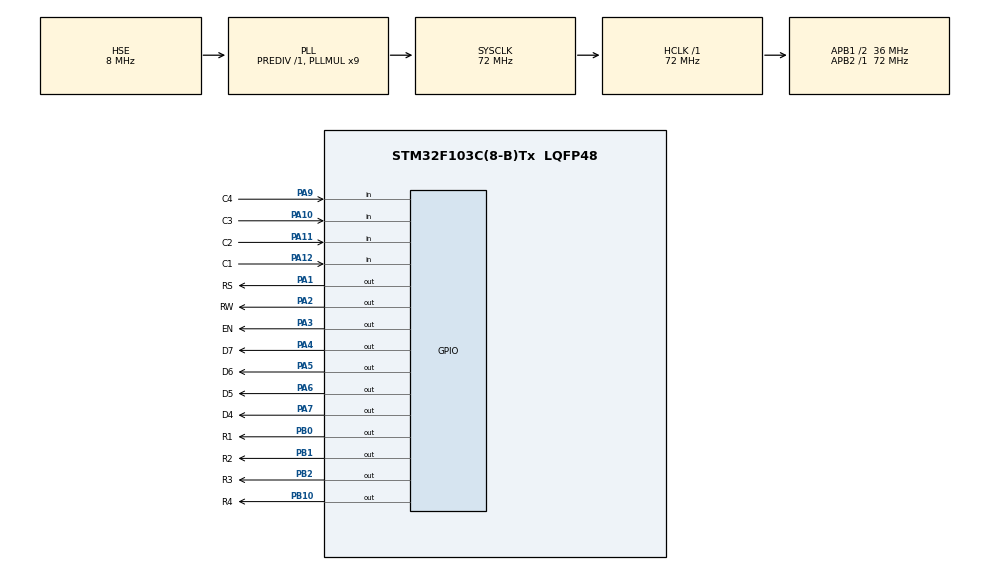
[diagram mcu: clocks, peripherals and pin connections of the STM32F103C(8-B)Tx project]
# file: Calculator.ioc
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Mcu.Family=STM32F1
Mcu.Name=STM32F103C(8-B)Tx
Mcu.Package=LQFP48
NVIC.PriorityGroup=NVIC_PRIORITYGROUP_4
PA1.GPIO_Label=RS
PA1.Signal=GPIO_Output
PA10.GPIO_Label=C3
PA10.GPIO_PuPd=GPIO_PULLUP
PA10.Signal=GPIO_Input
PA11.GPIO_Label=C2
PA11.GPIO_PuPd=GPIO_PULLUP
PA11.Signal=GPIO_Input
PA12.GPIO_Label=C1
PA12.GPIO_PuPd=GPIO_PULLUP
PA12.Signal=GPIO_Input
PA13.Mode=Serial_Wire
PA13.Signal=SYS_JTMS-SWDIO
PA14.Mode=Serial_Wire
PA14.Signal=SYS_JTCK-SWCLK
PA2.GPIO_Label=RW
PA2.Signal=GPIO_Output
PA3.GPIO_Label=EN
PA3.Signal=GPIO_Output
PA4.GPIO_Label=D7
PA4.Signal=GPIO_Output
PA5.GPIO_Label=D6
PA5.Signal=GPIO_Output
PA6.GPIO_Label=D5
PA6.Signal=GPIO_Output
PA7.GPIO_Label=D4
PA7.Signal=GPIO_Output
PA9.GPIO_Label=C4
PA9.GPIO_PuPd=GPIO_PULLUP
PA9.Signal=GPIO_Input
PB0.GPIO_Label=R1
PB0.Signal=GPIO_Output
PB1.GPIO_Label=R2
PB1.Signal=GPIO_Output
PB10.GPIO_Label=R4
PB10.Signal=GPIO_Output
PB2.GPIO_Label=R3
PB2.Signal=GPIO_Output
PC14-OSC32_IN.Mode=LSE-External-Clock-Source
PC14-OSC32_IN.Signal=RCC_OSC32_IN
PC15-OSC32_OUT.Mode=LSE-External-Clock-Source
PC15-OSC32_OUT.Signal=RCC_OSC32_OUT
PD0-OSC_IN.Mode=HSE-External-Oscillator
PD0-OSC_IN.Signal=RCC_OSC_IN
PD1-OSC_OUT.Mode=HSE-External-Oscillator
PD1-OSC_OUT.Signal=RCC_OSC_OUT
ProjectManager.HeapSize=0x200
ProjectManager.StackSize=0x400
ProjectManager.TargetToolchain=STM32CubeIDE
RCC.AHBFreq_Value=72000000
RCC.APB1CLKDivider=RCC_HCLK_DIV2
RCC.APB1Freq_Value=36000000
RCC.APB1TimFreq_Value=72000000
RCC.APB2Freq_Value=72000000
RCC.APB2TimFreq_Value=72000000
RCC.HCLKFreq_Value=72000000
RCC.PLLMUL=RCC_PLL_MUL9
RCC.PLLSourceVirtual=RCC_PLLSOURCE_HSE
RCC.SYSCLKFreq_VALUE=72000000
RCC.SYSCLKSource=RCC_SYSCLKSOURCE_PLLCLK
RCC.USBFreq_Value=72000000
TIM1.Period=0xffff
TIM1.Prescaler=72-1
VP_TIM1_VS_ClockSourceINT.Mode=Internal
board=custom

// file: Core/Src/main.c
/* USER CODE BEGIN Header */
/**
  ******************************************************************************
  * @file           : main.c
  * @brief          : Main program body
  ******************************************************************************
  * @attention
  *
  * Copyright (c) 2025 STMicroelectronics.
  * All rights reserved.
  *
  * This software is licensed under terms that can be found in the LICENSE file
  * in the root directory of this software component.
  * If no LICENSE file comes with this software, it is provided AS-IS.
  *
  ******************************************************************************
  */
/* USER CODE END Header */

#include "main.h"
#include <string.h>
#include <stdio.h>

/* USER CODE BEGIN PD */
/* LCD Pin Definitions (16x2) */
#define RS_PORT GPIOA
#define RS_PIN  GPIO_PIN_1
#define RW_PORT GPIOA
#define RW_PIN  GPIO_PIN_2
#define EN_PORT GPIOA
#define EN_PIN  GPIO_PIN_3
#define D4_PORT GPIOA
#define D4_PIN  GPIO_PIN_7
#define D5_PORT GPIOA
#define D5_PIN  GPIO_PIN_6
#define D6_PORT GPIOA
#define D6_PIN  GPIO_PIN_5
#define D7_PORT GPIOA
#define D7_PIN  GPIO_PIN_4

/* Keypad Pin Definitions */
#define R1_PORT GPIOA
#define R1_PIN  GPIO_PIN_9
#define R2_PORT GPIOA
#define R2_PIN  GPIO_PIN_10
#define R3_PORT GPIOA
#define R3_PIN  GPIO_PIN_11
#define R4_PORT GPIOA
#define R4_PIN  GPIO_PIN_12

#define C1_PORT GPIOB
#define C1_PIN  GPIO_PIN_12
#define C2_PORT GPIOB
#define C2_PIN  GPIO_PIN_13
#define C3_PORT GPIOB
#define C3_PIN  GPIO_PIN_14
#define C4_PORT GPIOB
#define C4_PIN  GPIO_PIN_15

/* Debug Pin */
#define DEBUG_PORT GPIOA
#define DEBUG_PIN  GPIO_PIN_8

/* Timer definition for microsecond delay */
#define timer htim1
/* USER CODE END PD */

TIM_HandleTypeDef htim1;

/* USER CODE BEGIN PV */
extern TIM_HandleTypeDef timer; // Defined as htim1

// Keypad layout
const char keypad[4][4] = {
    {'1', '2', '3', '+'},    // R1: PA9
    {'4', '5', '6', '*'},    // R2: PA10
    {'7', '8', '9', '-'},    // R3: PA11
    {'c', '0', '#', '='}     // R4: PA12 (B is '=')
};

// Calculator variables
int num1 = 0, num2 = 0, result = 0;
char operator = 0;
uint8_t state = 0; // 0: num1, 1: operator, 2: num2 entry, 3: result
char display_buffer[16]; // Buffer for LCD display
/* USER CODE END PV */

void SystemClock_Config(void);
static void MX_GPIO_Init(void);
static void MX_TIM1_Init(void);
char read_keypad(void);
void calculate(char key);

/* LCD function prototypes */
void delay(uint16_t us);
void send_to_lcd(char data, int rs);
void lcd_send_cmd(char cmd);
void lcd_send_data(char data);
void lcd_put_cur(int row, int col);
void lcd_init(void);
void lcd_send_string(char *str);
void lcd_clear(void);

int main(void)
{
  HAL_Init();
  SystemClock_Config();
  MX_GPIO_Init();
  MX_TIM1_Init();

  HAL_TIM_Base_Start(&timer); // Start TIM1 for LCD delay
  lcd_init();
  lcd_clear();
  lcd_put_cur(0, 0); // Start at row 0 for input
  lcd_put_cur(1, 0);
  lcd_send_string("Result:"); // Static label on row 1

  while (1)
  {
    HAL_GPIO_TogglePin(DEBUG_PORT, DEBUG_PIN); // Toggle PA8 to confirm loop
    HAL_Delay(500); // Blink every 500ms
    char key = read_keypad();
    if (key != 0x00) {
      calculate(key);
      HAL_Delay(200); // Debounce delay
    }
  }
}

void SystemClock_Config(void)
{
  RCC_OscInitTypeDef RCC_OscInitStruct = {0};
  RCC_ClkInitTypeDef RCC_ClkInitStruct = {0};

  RCC_OscInitStruct.OscillatorType = RCC_OSCILLATORTYPE_HSE;
  RCC_OscInitStruct.HSEState = RCC_HSE_ON;
  RCC_OscInitStruct.HSEPredivValue = RCC_HSE_PREDIV_DIV1;
  RCC_OscInitStruct.HSIState = RCC_HSI_ON;
  RCC_OscInitStruct.PLL.PLLState = RCC_PLL_ON;
  RCC_OscInitStruct.PLL.PLLSource = RCC_PLLSOURCE_HSE;
  RCC_OscInitStruct.PLL.PLLMUL = RCC_PLL_MUL9;
  if (HAL_RCC_OscConfig(&RCC_OscInitStruct) != HAL_OK)
  {
    Error_Handler();
  }

  RCC_ClkInitStruct.ClockType = RCC_CLOCKTYPE_HCLK|RCC_CLOCKTYPE_SYSCLK
                              |RCC_CLOCKTYPE_PCLK1|RCC_CLOCKTYPE_PCLK2;
  RCC_ClkInitStruct.SYSCLKSource = RCC_SYSCLKSOURCE_PLLCLK;
  RCC_ClkInitStruct.AHBCLKDivider = RCC_SYSCLK_DIV1;
  RCC_ClkInitStruct.APB1CLKDivider = RCC_HCLK_DIV2;
  RCC_ClkInitStruct.APB2CLKDivider = RCC_HCLK_DIV1;
  if (HAL_RCC_ClockConfig(&RCC_ClkInitStruct, FLASH_LATENCY_2) != HAL_OK)
  {
    Error_Handler();
  }
}

static void MX_TIM1_Init(void)
{
  TIM_ClockConfigTypeDef sClockSourceConfig = {0};
  TIM_MasterConfigTypeDef sMasterConfig = {0};

  htim1.Instance = TIM1;
  htim1.Init.Prescaler = 72-1;
  htim1.Init.CounterMode = TIM_COUNTERMODE_UP;
  htim1.Init.Period = 65535;
  htim1.Init.ClockDivision = TIM_CLOCKDIVISION_DIV1;
  htim1.Init.RepetitionCounter = 0;
  htim1.Init.AutoReloadPreload = TIM_AUTORELOAD_PRELOAD_DISABLE;
  if (HAL_TIM_Base_Init(&htim1) != HAL_OK)
  {
    Error_Handler();
  }
  sClockSourceConfig.ClockSource = TIM_CLOCKSOURCE_INTERNAL;
  if (HAL_TIM_ConfigClockSource(&htim1, &sClockSourceConfig) != HAL_OK)
  {
    Error_Handler();
  }
  sMasterConfig.MasterOutputTrigger = TIM_TRGO_RESET;
  sMasterConfig.MasterSlaveMode = TIM_MASTERSLAVEMODE_DISABLE;
  if (HAL_TIMEx_MasterConfigSynchronization(&htim1, &sMasterConfig) != HAL_OK)
  {
    Error_Handler();
  }
}

static void MX_GPIO_Init(void)
{
  GPIO_InitTypeDef GPIO_InitStruct = {0};

  /* GPIO Ports Clock Enable */
  __HAL_RCC_GPIOC_CLK_ENABLE();
  __HAL_RCC_GPIOD_CLK_ENABLE();
  __HAL_RCC_GPIOB_CLK_ENABLE();
  __HAL_RCC_GPIOA_CLK_ENABLE();

  /* Configure GPIO pin Output Level */
  HAL_GPIO_WritePin(GPIOA, RS_PIN | RW_PIN | EN_PIN | D4_PIN | D5_PIN | D6_PIN | D7_PIN | DEBUG_PIN, GPIO_PIN_RESET);
  HAL_GPIO_WritePin(GPIOA, R1_PIN | R2_PIN | R3_PIN | R4_PIN, GPIO_PIN_SET);

  /* Configure LCD GPIO pins */
  GPIO_InitStruct.Pin = RS_PIN | RW_PIN | EN_PIN | D4_PIN | D5_PIN | D6_PIN | D7_PIN;
  GPIO_InitStruct.Mode = GPIO_MODE_OUTPUT_PP;
  GPIO_InitStruct.Pull = GPIO_NOPULL;
  GPIO_InitStruct.Speed = GPIO_SPEED_FREQ_LOW;
  HAL_GPIO_Init(GPIOA, &GPIO_InitStruct);

  /* Configure Keypad Row pins (Outputs, HIGH by default) */
  GPIO_InitStruct.Pin = R1_PIN | R2_PIN | R3_PIN | R4_PIN;
  GPIO_InitStruct.Mode = GPIO_MODE_OUTPUT_PP;
  GPIO_InitStruct.Pull = GPIO_NOPULL;
  GPIO_InitStruct.Speed = GPIO_SPEED_FREQ_LOW;
  HAL_GPIO_Init(GPIOA, &GPIO_InitStruct);

  /* Configure Keypad Column pins (Inputs with pull-up) */
  GPIO_InitStruct.Pin = C1_PIN | C2_PIN | C3_PIN | C4_PIN;
  GPIO_InitStruct.Mode = GPIO_MODE_INPUT;
  GPIO_InitStruct.Pull = GPIO_PULLUP;
  HAL_GPIO_Init(GPIOB, &GPIO_InitStruct);

  /* Configure Debug pin (PA8) */
  GPIO_InitStruct.Pin = DEBUG_PIN;
  GPIO_InitStruct.Mode = GPIO_MODE_OUTPUT_PP;
  GPIO_InitStruct.Pull = GPIO_NOPULL;
  GPIO_InitStruct.Speed = GPIO_SPEED_FREQ_LOW;
  HAL_GPIO_Init(GPIOA, &GPIO_InitStruct);
}

/* USER CODE BEGIN 4 */

/* Keypad Reading Function with Debounce */
char read_keypad(void) {
    char key = 0x00;

    HAL_GPIO_WritePin(R1_PORT, R1_PIN, GPIO_PIN_RESET);
    HAL_Delay(10);
    if (!HAL_GPIO_ReadPin(C1_PORT, C1_PIN)) { key = '1'; }
    else if (!HAL_GPIO_ReadPin(C2_PORT, C2_PIN)) { key = '2'; }
    else if (!HAL_GPIO_ReadPin(C3_PORT, C3_PIN)) { key = '3'; }
    else if (!HAL_GPIO_ReadPin(C4_PORT, C4_PIN)) { key = '+'; }
    HAL_GPIO_WritePin(R1_PORT, R1_PIN, GPIO_PIN_SET);

    if (key != 0x00) {
        while (!HAL_GPIO_ReadPin(C1_PORT, C1_PIN) || !HAL_GPIO_ReadPin(C2_PORT, C2_PIN) ||
               !HAL_GPIO_ReadPin(C3_PORT, C3_PIN) || !HAL_GPIO_ReadPin(C4_PORT, C4_PIN)) {
            HAL_Delay(10);
        }
        return key;
    }

    HAL_GPIO_WritePin(R2_PORT, R2_PIN, GPIO_PIN_RESET);
    HAL_Delay(10);
    if (!HAL_GPIO_ReadPin(C1_PORT, C1_PIN)) { key = '4'; }
    else if (!HAL_GPIO_ReadPin(C2_PORT, C2_PIN)) { key = '5'; }
    else if (!HAL_GPIO_ReadPin(C3_PORT, C3_PIN)) { key = '6';}
    else if (!HAL_GPIO_ReadPin(C4_PORT, C4_PIN)) { key = '*'; }

    HAL_GPIO_WritePin(R2_PORT, R2_PIN, GPIO_PIN_SET);

    if (key != 0x00) {
        while (!HAL_GPIO_ReadPin(C1_PORT, C1_PIN) || !HAL_GPIO_ReadPin(C2_PORT, C2_PIN) ||
               !HAL_GPIO_ReadPin(C3_PORT, C3_PIN) || !HAL_GPIO_ReadPin(C4_PORT, C4_PIN)) {
            HAL_Delay(10);
        }
        return key;
    }

    HAL_GPIO_WritePin(R3_PORT, R3_PIN, GPIO_PIN_RESET);
    HAL_Delay(10);
    if (!HAL_GPIO_ReadPin(C1_PORT, C1_PIN)) { key = '7'; }
    else if (!HAL_GPIO_ReadPin(C2_PORT, C2_PIN)) { key = '8'; }
    else if (!HAL_GPIO_ReadPin(C3_PORT, C3_PIN)) { key = '9'; }
    else if (!HAL_GPIO_ReadPin(C4_PORT, C4_PIN)) { key = '-'; }// c=-

    HAL_GPIO_WritePin(R3_PORT, R3_PIN, GPIO_PIN_SET);

    if (key != 0x00) {
        while (!HAL_GPIO_ReadPin(C1_PORT, C1_PIN) || !HAL_GPIO_ReadPin(C2_PORT, C2_PIN) ||
               !HAL_GPIO_ReadPin(C3_PORT, C3_PIN) || !HAL_GPIO_ReadPin(C4_PORT, C4_PIN)) {
            HAL_Delay(10);
        }
        return key;
    }

    HAL_GPIO_WritePin(R4_PORT, R4_PIN, GPIO_PIN_RESET);
    HAL_Delay(10);
    if (!HAL_GPIO_ReadPin(C1_PORT, C1_PIN)) { key = 'c'; }
    else if (!HAL_GPIO_ReadPin(C2_PORT, C2_PIN)) { key = '0'; }
    else if (!HAL_GPIO_ReadPin(C3_PORT, C3_PIN)) { key = '#'; }
    else if (!HAL_GPIO_ReadPin(C4_PORT, C4_PIN)) { key = '='; }
    HAL_GPIO_WritePin(R4_PORT, R4_PIN, GPIO_PIN_SET);

    if (key != 0x00) {
        while (!HAL_GPIO_ReadPin(C1_PORT, C1_PIN) || !HAL_GPIO_ReadPin(C2_PORT, C2_PIN) ||
               !HAL_GPIO_ReadPin(C3_PORT, C3_PIN) || !HAL_GPIO_ReadPin(C4_PORT, C4_PIN)) {
            HAL_Delay(10);
        }
        return key;
    }

    return 0x00;
}

/* Calculator Logic with LCD Display */
void calculate(char key) {
    static int num1 = 0, num2 = 0, result = 0;
    static char operator = 0;
    static int state = 0; // 0: num1 entry, 1: operator entry, 2: num2 entry
    static int result_displayed = 0; // Flag to track if result is displayed
    char display_buffer[16]; // Adjust size as needed for your LCD

    if (key >= '0' && key <= '9') {
        if (state == 0) { // Build and display num1
            num1 = num1 * 10 + (key - '0');
            sprintf(display_buffer, "%d", num1); // Convert num1 to string
            lcd_put_cur(0, 0); // Position cursor at start of first row
            lcd_send_string(display_buffer);
        } else if (state == 1) { // Transition to num2 entry
            state = 2;
            num2 = num2 * 10 + (key - '0'); // Start num2
            // Display operator and num2 on the first row
            sprintf(display_buffer, "%d%c%d", num1, operator, num2); // Convert num1, operator, and num2 to string
            lcd_put_cur(0, 0); // Position cursor at start of first row
            lcd_send_string(display_buffer);
        } else if (state == 2) { // Continue building num2
            num2 = num2 * 10 + (key - '0');
            sprintf(display_buffer, "%d%c%d", num1, operator, num2); // Update display with num2
            lcd_put_cur(0, 0); // Ensure num2 is displayed on the first row
            lcd_send_string(display_buffer);
        }
    }
    else if (key == '+') {
        if (state == 0) {
            state = 1; // Move to operator entry state
            operator = '+'; // Set the operator
            lcd_put_cur(0, strlen(display_buffer)); // Position cursor after num1
            lcd_send_data('+'); // Display the '+' operator
        }
    }
    else if (key == '-') {
        if (state == 0) {
            state = 1;
            operator = '-';
            lcd_put_cur(0, strlen(display_buffer));
            lcd_send_data('-');
        }
    }
    else if (key == '*') {
        if (state == 0) {
            state = 1;
            operator = '*';
            lcd_put_cur(0, strlen(display_buffer));
            lcd_send_data('*');
        }
    }
    else if (key == '=') {
        if (state == 2) { // If num2 is entered, perform calculation
            if (operator == '+') {
                result = num1 + num2;
            }
            else if (operator == '-') {
                result = num1 - num2;
            }
            else if (operator == '*') {
                result = num1 * num2;
            }

            // Convert the result to string and display it
            sprintf(display_buffer, "Result: %d", result); // Convert result to string
            lcd_put_cur(1, 0); // Position to display result on first row
            lcd_send_string(display_buffer);
            result_displayed = 1; // Set flag to indicate result is displayed

            // Reset for the next calculation
            num1 = 0;
            num2 = 0;
            operator = 0;
            state = 0;
        }
    }
    else if (key == 'c') { // Clear screen when 'c' is pressed
        if (result_displayed) {
            lcd_clear(); // Clear the display
            lcd_put_cur(1, 0); // Position to start from the first row
            lcd_send_string("Result:"); // Optionally print "Result:" again
            result_displayed = 0; // Reset the flag
        }
    }
}

/* LCD Functions */
void delay(uint16_t us) {
    __HAL_TIM_SET_COUNTER(&timer, 0);
    while (__HAL_TIM_GET_COUNTER(&timer) < us);
}

void send_to_lcd(char data, int rs) {
    HAL_GPIO_WritePin(RS_PORT, RS_PIN, rs);
    HAL_GPIO_WritePin(RW_PORT, RW_PIN, 0);
    HAL_GPIO_WritePin(D7_PORT, D7_PIN, ((data >> 3) & 0x01));
    HAL_GPIO_WritePin(D6_PORT, D6_PIN, ((data >> 2) & 0x01));
    HAL_GPIO_WritePin(D5_PORT, D5_PIN, ((data >> 1) & 0x01));
    HAL_GPIO_WritePin(D4_PORT, D4_PIN, ((data >> 0) & 0x01));
    HAL_GPIO_WritePin(EN_PORT, EN_PIN, 1);
    delay(20);
    HAL_GPIO_WritePin(EN_PORT, EN_PIN, 0);
    delay(20);
}

void lcd_send_cmd(char cmd) {
    char datatosend;
    datatosend = ((cmd >> 4) & 0x0F);
    send_to_lcd(datatosend, 0);
    datatosend = (cmd & 0x0F);
    send_to_lcd(datatosend, 0);
    delay(100);
}

void lcd_send_data(char data) {
    char datatosend;
    datatosend = ((data >> 4) & 0x0F);
    send_to_lcd(datatosend, 1);
    datatosend = (data & 0x0F);
    send_to_lcd(datatosend, 1);
}

void lcd_put_cur(int row, int col) {
    static const uint8_t row_offsets[] = {0x00, 0x40}; // 16x2 LCD
    if (row >= 0 && row <= 1 && col >= 0 && col <= 15) {
        lcd_send_cmd(0x80 | (row_offsets[row] + col));
    }
}

void lcd_init(void) {
    HAL_Delay(50); // Initial delay for LCD power-up
    HAL_GPIO_WritePin(RW_PORT, RW_PIN, 0);
    lcd_send_cmd(0x33); // Initialize in 8-bit mode
    HAL_Delay(5);
    lcd_send_cmd(0x32); // Switch to 4-bit mode
    HAL_Delay(5);
    lcd_send_cmd(0x28); // 4-bit, 2-line, 5x8 font
    HAL_Delay(5);
    lcd_send_cmd(0x08); // Display off
    HAL_Delay(5);
    lcd_send_cmd(0x01); // Clear display
    HAL_Delay(5);
    lcd_send_cmd(0x06); // Entry mode: increment cursor
    HAL_Delay(5);
    lcd_send_cmd(0x0C); // Display on, no cursor
    HAL_Delay(5);
}

void lcd_send_string(char *str) {
    while (*str) {
        lcd_send_data(*str++);
    }
}

void lcd_clear(void) {
    lcd_send_cmd(0x01);
    HAL_Delay(5);
}

/* USER CODE END 4 */

void Error_Handler(void)
{
  HAL_GPIO_WritePin(DEBUG_PORT, DEBUG_PIN, GPIO_PIN_SET); // Debug pin HIGH on error
  __disable_irq();
  while (1) {}
}
